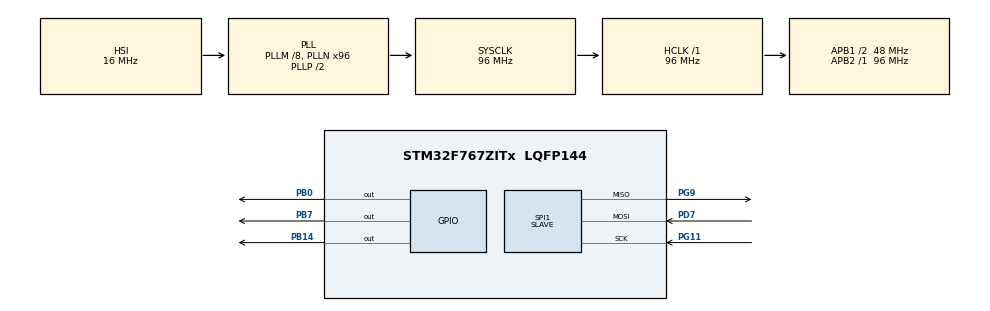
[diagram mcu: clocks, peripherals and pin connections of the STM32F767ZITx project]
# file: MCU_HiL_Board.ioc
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FREERTOS.BinarySemaphores01=blinkSemaphore,Dynamic,NULL
FREERTOS.Tasks01=defaultTask,8,128,StartDefaultTask,Default,NULL,Dynamic,NULL,NULL;taskBlu,24,128,StartTaskBlu,Default,NULL,Dynamic,NULL,NULL;taskRed,40,128,StartTaskRed,Default,NULL,Dynamic,NULL,NULL
FREERTOS.configENABLE_FPU=0
FREERTOS.configTICK_RATE_HZ=10
FREERTOS.configUSE_NEWLIB_REENTRANT=1
Mcu.Family=STM32F7
Mcu.Name=STM32F767ZITx
Mcu.Package=LQFP144
NVIC.PriorityGroup=NVIC_PRIORITYGROUP_4
NVIC.TIM6_DAC_IRQn=true\:15\:0\:false\:false\:true\:false\:false\:true\:true
NVIC.TimeBase=TIM6_DAC_IRQn
NVIC.TimeBaseIP=TIM6
PA0/WKUP.Mode=SYS_WakeUp0
PA0/WKUP.Signal=SYS_WKUP1
PA13.Mode=Serial_Wire
PA13.Signal=SYS_JTMS-SWDIO
PA14.Mode=Serial_Wire
PA14.Signal=SYS_JTCK-SWCLK
PB0.Signal=GPIO_Output
PB14.Signal=GPIO_Output
PB7.Signal=GPIO_Output
PD7.Mode=Full_Duplex_Slave
PD7.Signal=SPI1_MOSI
PG11.Mode=Full_Duplex_Slave
PG11.Signal=SPI1_SCK
PG9.Mode=Full_Duplex_Slave
PG9.Signal=SPI1_MISO
ProjectManager.HeapSize=0x200
ProjectManager.StackSize=0x400
ProjectManager.TargetToolchain=STM32CubeIDE
RCC.48MHZClocksFreq_Value=24000000
RCC.AHBFreq_Value=96000000
RCC.APB1CLKDivider=RCC_HCLK_DIV2
RCC.APB1Freq_Value=48000000
RCC.APB1TimFreq_Value=96000000
RCC.APB2Freq_Value=96000000
RCC.APB2TimFreq_Value=96000000
RCC.CortexFreq_Value=96000000
RCC.HCLKFreq_Value=96000000
RCC.HSE_VALUE=8000000
RCC.HSI_VALUE=16000000
RCC.LSE_VALUE=32768
RCC.PLLM=8
RCC.PLLMUL=RCC_PLL_MUL9
RCC.PLLN=96
RCC.PLLQ=4
RCC.PRESCALERUSB=RCC_USBCLKSOURCE_PLL_DIV1_5
RCC.SYSCLKFreq_VALUE=96000000
RCC.SYSCLKSource=RCC_SYSCLKSOURCE_PLLCLK
RCC.SYSCLKSourceVirtual=RCC_SYSCLKSOURCE_PLLCLK
RCC.USBFreq_Value=48000000
RCC.VCOOutputFreq_Value=192000000
SPI1.Direction=SPI_DIRECTION_2LINES
SPI1.Mode=SPI_MODE_SLAVE
SPI1.VirtualType=VM_SLAVE
VP_FREERTOS_VS_CMSIS_V2.Mode=CMSIS_V2
VP_SYS_VS_tim6.Mode=TIM6
board=NUCLEO-F767ZI

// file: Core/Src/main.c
/* USER CODE BEGIN Header */
/**
  ******************************************************************************
  * @file           : main.c
  * @brief          : Main program body
  ******************************************************************************
  * @attention
  *
  * Copyright (c) 2022 STMicroelectronics.
  * All rights reserved.
  *
  * This software is licensed under terms that can be found in the LICENSE file
  * in the root directory of this software component.
  * If no LICENSE file comes with this software, it is provided AS-IS.
  *
  ******************************************************************************
  */
/* USER CODE END Header */
#include "main.h"
#include "cmsis_os.h"

/* USER CODE BEGIN PTD */
typedef struct {                                // object data type
  uint8_t Buf[32];
  uint8_t Idx;
} MSGQ_obj;
/* USER CODE END PTD */

SPI_HandleTypeDef hspi1;

/* Definitions for defaultTask */
osThreadId_t defaultTaskHandle;
const osThreadAttr_t defaultTask_attributes = {
  .name = "defaultTask",
  .stack_size = 128 * 4,
  .priority = (osPriority_t) osPriorityLow,
};
/* Definitions for taskBlu */
osThreadId_t taskBluHandle;
const osThreadAttr_t taskBlu_attributes = {
  .name = "taskBlu",
  .stack_size = 128 * 4,
  .priority = (osPriority_t) osPriorityNormal,
};
/* Definitions for taskRed */
osThreadId_t taskRedHandle;
const osThreadAttr_t taskRed_attributes = {
  .name = "taskRed",
  .stack_size = 128 * 4,
  .priority = (osPriority_t) osPriorityHigh,
};
/* Definitions for blinkSemaphore */
osSemaphoreId_t blinkSemaphoreHandle;
const osSemaphoreAttr_t blinkSemaphore_attributes = {
  .name = "blinkSemaphore"
};
/* USER CODE BEGIN PV */

osMessageQueueId_t MSGQ;
/* USER CODE END PV */

void SystemClock_Config(void);
static void MX_GPIO_Init(void);
static void MX_SPI1_Init(void);
void StartDefaultTask(void *argument);
void StartTaskBlu(void *argument);
void StartTaskRed(void *argument);

/* USER CODE BEGIN 0 */
int Init_MsgQueue (void) {

  MSGQ = osMessageQueueNew(MSGQ_obj, sizeof(MSGQ_obj), NULL);
  if (MSGQ == NULL) {
	  return -1;
  }
  return 0;
}

/* USER CODE END 0 */

int main(void)
{

  /* MCU Configuration--------------------------------------------------------*/

  /* Reset of all peripherals, Initializes the Flash interface and the Systick. */
  HAL_Init();

  /* Configure the system clock */
  SystemClock_Config();

  /* Initialize all configured peripherals */
  MX_GPIO_Init();
  MX_SPI1_Init();

  /* Init scheduler */
  osKernelInitialize();

  /* Create the semaphores(s) */
  /* creation of blinkSemaphore */
  blinkSemaphoreHandle = osSemaphoreNew(1, 1, &blinkSemaphore_attributes);

  /* USER CODE BEGIN RTOS_QUEUES */
  Init_MsgQueue();
  /* add queues, ... */
  /* USER CODE END RTOS_QUEUES */

  /* Create the thread(s) */
  /* creation of defaultTask */
  defaultTaskHandle = osThreadNew(StartDefaultTask, NULL, &defaultTask_attributes);

  /* creation of taskBlu */
  taskBluHandle = osThreadNew(StartTaskBlu, NULL, &taskBlu_attributes);

  /* creation of taskRed */
  taskRedHandle = osThreadNew(StartTaskRed, NULL, &taskRed_attributes);

  /* Start scheduler */
  osKernelStart();

  /* We should never get here as control is now taken by the scheduler */
  /* Infinite loop */
  while (1)
  {

  }
}

void SystemClock_Config(void)
{
  RCC_OscInitTypeDef RCC_OscInitStruct = {0};
  RCC_ClkInitTypeDef RCC_ClkInitStruct = {0};

  /** Configure the main internal regulator output voltage
  */
  __HAL_RCC_PWR_CLK_ENABLE();
  __HAL_PWR_VOLTAGESCALING_CONFIG(PWR_REGULATOR_VOLTAGE_SCALE3);

  /** Initializes the RCC Oscillators according to the specified parameters
  * in the RCC_OscInitTypeDef structure.
  */
  RCC_OscInitStruct.OscillatorType = RCC_OSCILLATORTYPE_HSI;
  RCC_OscInitStruct.HSIState = RCC_HSI_ON;
  RCC_OscInitStruct.HSICalibrationValue = RCC_HSICALIBRATION_DEFAULT;
  RCC_OscInitStruct.PLL.PLLState = RCC_PLL_ON;
  RCC_OscInitStruct.PLL.PLLSource = RCC_PLLSOURCE_HSI;
  RCC_OscInitStruct.PLL.PLLM = 8;
  RCC_OscInitStruct.PLL.PLLN = 96;
  RCC_OscInitStruct.PLL.PLLP = RCC_PLLP_DIV2;
  RCC_OscInitStruct.PLL.PLLQ = 4;
  RCC_OscInitStruct.PLL.PLLR = 2;
  if (HAL_RCC_OscConfig(&RCC_OscInitStruct) != HAL_OK)
  {
    Error_Handler();
  }

  /** Activate the Over-Drive mode
  */
  if (HAL_PWREx_EnableOverDrive() != HAL_OK)
  {
    Error_Handler();
  }

  /** Initializes the CPU, AHB and APB buses clocks
  */
  RCC_ClkInitStruct.ClockType = RCC_CLOCKTYPE_HCLK|RCC_CLOCKTYPE_SYSCLK
                              |RCC_CLOCKTYPE_PCLK1|RCC_CLOCKTYPE_PCLK2;
  RCC_ClkInitStruct.SYSCLKSource = RCC_SYSCLKSOURCE_PLLCLK;
  RCC_ClkInitStruct.AHBCLKDivider = RCC_SYSCLK_DIV1;
  RCC_ClkInitStruct.APB1CLKDivider = RCC_HCLK_DIV2;
  RCC_ClkInitStruct.APB2CLKDivider = RCC_HCLK_DIV1;

  if (HAL_RCC_ClockConfig(&RCC_ClkInitStruct, FLASH_LATENCY_3) != HAL_OK)
  {
    Error_Handler();
  }
}

static void MX_SPI1_Init(void)
{

  /* SPI1 parameter configuration*/
  hspi1.Instance = SPI1;
  hspi1.Init.Mode = SPI_MODE_SLAVE;
  hspi1.Init.Direction = SPI_DIRECTION_2LINES;
  hspi1.Init.DataSize = SPI_DATASIZE_4BIT;
  hspi1.Init.CLKPolarity = SPI_POLARITY_LOW;
  hspi1.Init.CLKPhase = SPI_PHASE_1EDGE;
  hspi1.Init.NSS = SPI_NSS_SOFT;
  hspi1.Init.FirstBit = SPI_FIRSTBIT_MSB;
  hspi1.Init.TIMode = SPI_TIMODE_DISABLE;
  hspi1.Init.CRCCalculation = SPI_CRCCALCULATION_DISABLE;
  hspi1.Init.CRCPolynomial = 7;
  hspi1.Init.CRCLength = SPI_CRC_LENGTH_DATASIZE;
  hspi1.Init.NSSPMode = SPI_NSS_PULSE_DISABLE;
  if (HAL_SPI_Init(&hspi1) != HAL_OK)
  {
    Error_Handler();
  }

}

static void MX_GPIO_Init(void)
{
  GPIO_InitTypeDef GPIO_InitStruct = {0};

  /* GPIO Ports Clock Enable */
  __HAL_RCC_GPIOA_CLK_ENABLE();
  __HAL_RCC_GPIOB_CLK_ENABLE();
  __HAL_RCC_GPIOD_CLK_ENABLE();
  __HAL_RCC_GPIOG_CLK_ENABLE();

  /*Configure GPIO pin Output Level */
  HAL_GPIO_WritePin(GPIOB, GPIO_PIN_0|GPIO_PIN_14|GPIO_PIN_7, GPIO_PIN_RESET);

  /*Configure GPIO pins : PB0 PB14 PB7 */
  GPIO_InitStruct.Pin = GPIO_PIN_0|GPIO_PIN_14|GPIO_PIN_7;
  GPIO_InitStruct.Mode = GPIO_MODE_OUTPUT_PP;
  GPIO_InitStruct.Pull = GPIO_NOPULL;
  GPIO_InitStruct.Speed = GPIO_SPEED_FREQ_LOW;
  HAL_GPIO_Init(GPIOB, &GPIO_InitStruct);

}

void StartDefaultTask(void *argument)
{
  for(;;)
  {
	  osDelay(1);
  }
}

void StartTaskBlu(void *argument)
{
  /* USER CODE BEGIN StartTaskBlu */
  MSGQ_obj msg;
  /* Infinite loop */
  for(;;)
  {
	HAL_GPIO_WritePin(GPIOB, GPIO_PIN_14, GPIO_PIN_RESET);		//Switch off Red LED
	//osDelay(1);
	HAL_GPIO_WritePin(GPIOB, GPIO_PIN_7, GPIO_PIN_SET);			//Switch ON  blu LED to indicate active task

	if( MSGQ != NULL )
	{
	/* See if we can obtain the semaphore.  If the semaphore is not
	   available wait 10 ticks to see if it becomes free. */

		HAL_GPIO_WritePin(GPIOB, GPIO_PIN_0, GPIO_PIN_RESET);	//SEMAPHORE LED off

		/* We have finished accessing the shared resource.  Release the
		   semaphore. */
		msg.Buf[0] = 0x55U;                                         // do some work...
		msg.Idx    = 0U;
		osMessageQueuePut(MSGQ, &msg, 0U, 0U);

	}

	 //osDelay(1); //Wait to make changes not too rapid for human eye
  }
  /* USER CODE END StartTaskBlu */
}

void StartTaskRed(void *argument)
{
  /* USER CODE BEGIN StartTaskRed */
  MSGQ_obj msg;
  /* Infinite loop */
  for(;;)
  {
	  //osDelay(1);

		HAL_GPIO_WritePin(GPIOB, GPIO_PIN_14, GPIO_PIN_SET);		//Switch ON  Red LED to indicate active task

		//osDelay(1);
		HAL_GPIO_WritePin(GPIOB, GPIO_PIN_7, GPIO_PIN_RESET);		//Switch off blu LED

		if( MSGQ != NULL )
			{
			/* See if we can obtain the semaphore.  If the semaphore is not
			   available wait 10 ticks to see if it becomes free. */
				status = osMessageQueueGet(MSGQ, &msg, NULL, 0U);
				if (status == osOK)
				{
					HAL_GPIO_WritePin(GPIOB, GPIO_PIN_0, GPIO_PIN_SET);	//SEMAPHORE LED off

					/* We have finished accessing the shared resource.  Release the
					   semaphore. */
				}

			}

			 //osDelay(1); //Wait to make changes not too rapid for human eye
  }
  /* USER CODE END StartTaskBlu */
}

void HAL_TIM_PeriodElapsedCallback(TIM_HandleTypeDef *htim)
{
  if (htim->Instance == TIM6) {
    HAL_IncTick();
  }
}

void Error_Handler(void)
{
  __disable_irq();
  while (1)
  {
  }
}
